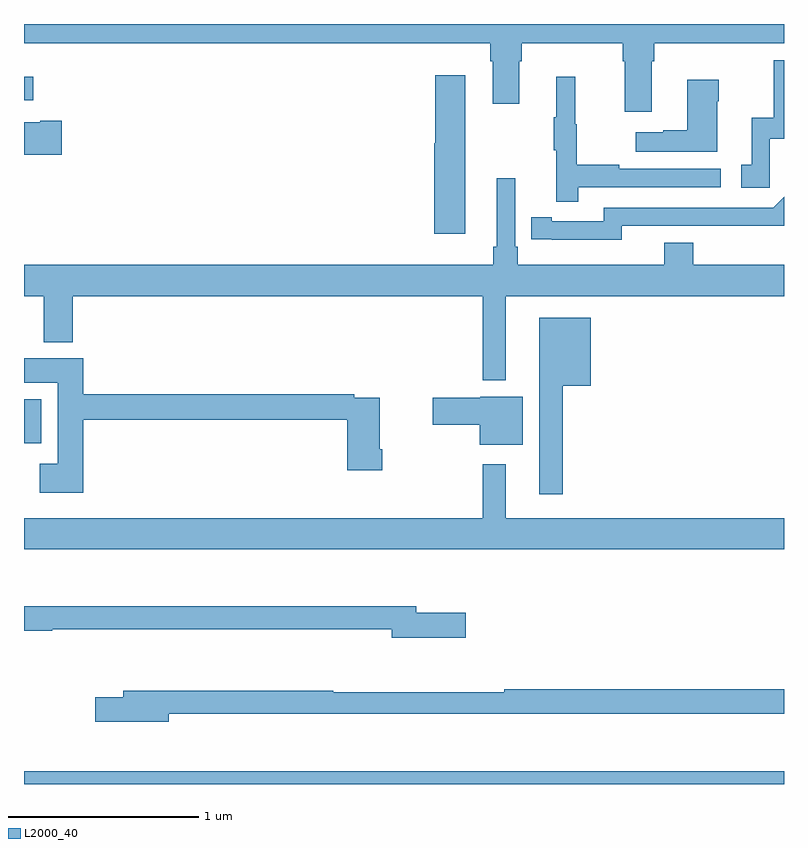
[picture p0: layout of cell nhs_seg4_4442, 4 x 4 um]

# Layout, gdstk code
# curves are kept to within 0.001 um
import gdstk
lib = gdstk.Library(unit=1e-6, precision=1e-09)
def R(c, l, rs):  # rectangles x0, y0, x1, y1
    for r in rs: c.add(gdstk.rectangle(r[:2], r[2:], *l))
def P(c, l, *ps):  # polygons
    for p in ps: c.add(gdstk.Polygon(p, *l))
L2000_40 = (2000, 40)

nhs_seg4_4442 = lib.new_cell('nhs_seg4_4442')
R(nhs_seg4_4442, L2000_40, [(349,812.9,353,812.968), (349,814.694,349.09,814.924), (349,816.5,349.048,816.622)])
P(nhs_seg4_4442, L2000_40, [(352.303,816.704),(352.316,816.704),(352.316,816.8),(353,816.8),(353,816.9),(349,816.9),(349,816.8),(351.455,816.8),(351.455,816.704),(351.467,816.704),(351.467,816.48),(351.607,816.48),(351.607,816.704),(351.62,816.704),(351.62,816.8),(352.151,816.8),(352.151,816.704),(352.163,816.704),(352.163,816.438),(352.303,816.438)],
  [(352.926,816.297),(353,816.297),(353,816.708),(352.947,816.708),(352.947,816.406),(352.829,816.406),(352.829,816.159),(352.776,816.159),(352.776,816.039),(352.926,816.039)],
  [(351.322,816.631),(351.164,816.631),(351.164,816.273),(351.158,816.273),(351.158,815.796),(351.322,815.796)],
  [(351.917,816.042),(352.666,816.042),(352.666,816.138),(352.133,816.138),(352.133,816.158),(351.91,816.158),(351.91,816.372),(351.902,816.372),(351.902,816.622),(351.8,816.622),(351.8,816.409),(351.789,816.409),(351.789,816.235),(351.8,816.235),(351.8,815.964),(351.917,815.964)],
  [(352.648,816.494),(352.656,816.494),(352.656,816.607),(352.49,816.607),(352.49,816.341),(352.364,816.341),(352.364,816.331),(352.221,816.331),(352.221,816.227),(352.648,816.227)],
  [(349.198,816.39),(349.085,816.39),(349.085,816.382),(349,816.382),(349,816.212),(349.198,816.212)],
  [(351.535,815.468),(353,815.468),(353,815.632),(352.523,815.632),(352.523,815.749),(352.37,815.749),(352.37,815.632),(351.599,815.632),(351.599,815.728),(351.585,815.728),(351.585,816.088),(351.488,816.088),(351.488,815.728),(351.469,815.728),(351.469,815.632),(349,815.632),(349,815.468),(349.103,815.468),(349.103,815.225),(349.256,815.225),(349.256,815.468),(351.414,815.468),(351.414,815.024),(351.535,815.024)],
  [(352.146,815.838),(353,815.837),(353,815.99),(352.944,815.934),(352.05,815.934),(352.05,815.862),(351.778,815.862),(351.778,815.882),(351.67,815.882),(351.67,815.766),(352.146,815.765)],
  [(351.835,814.997),(351.982,814.997),(351.982,815.353),(351.713,815.353),(351.713,814.425),(351.835,814.425)],
  [(349.313,814.816),(350.702,814.816),(350.702,814.551),(350.885,814.551),(350.885,814.663),(350.872,814.663),(350.872,814.932),(350.738,814.932),(350.738,814.952),(349.313,814.952),(349.313,815.14),(349,815.14),(349,815.012),(349.178,815.012),(349.178,814.585),(349.083,814.585),(349.083,814.433),(349.313,814.433)],
  [(351.625,814.939),(351.402,814.939),(351.402,814.934),(351.15,814.934),(351.15,814.792),(351.398,814.792),(351.398,814.685),(351.625,814.685)],
  [(353,814.3),(351.535,814.3),(351.535,814.582),(351.414,814.582),(351.414,814.3),(349,814.3),(349,814.136),(353,814.136)],
  [(351.325,813.801),(351.064,813.801),(351.064,813.835),(349,813.835),(349,813.706),(349.148,813.706),(349.148,813.714),(350.936,813.714),(350.936,813.671),(351.325,813.671)],
  [(349.762,813.27),(353,813.27),(353,813.398),(351.527,813.398),(351.527,813.383),(350.627,813.383),(350.627,813.391),(349.523,813.391),(349.523,813.357),(349.374,813.357),(349.374,813.227),(349.762,813.227)])

lib.write_gds('nhs_seg4_4442.gds')
